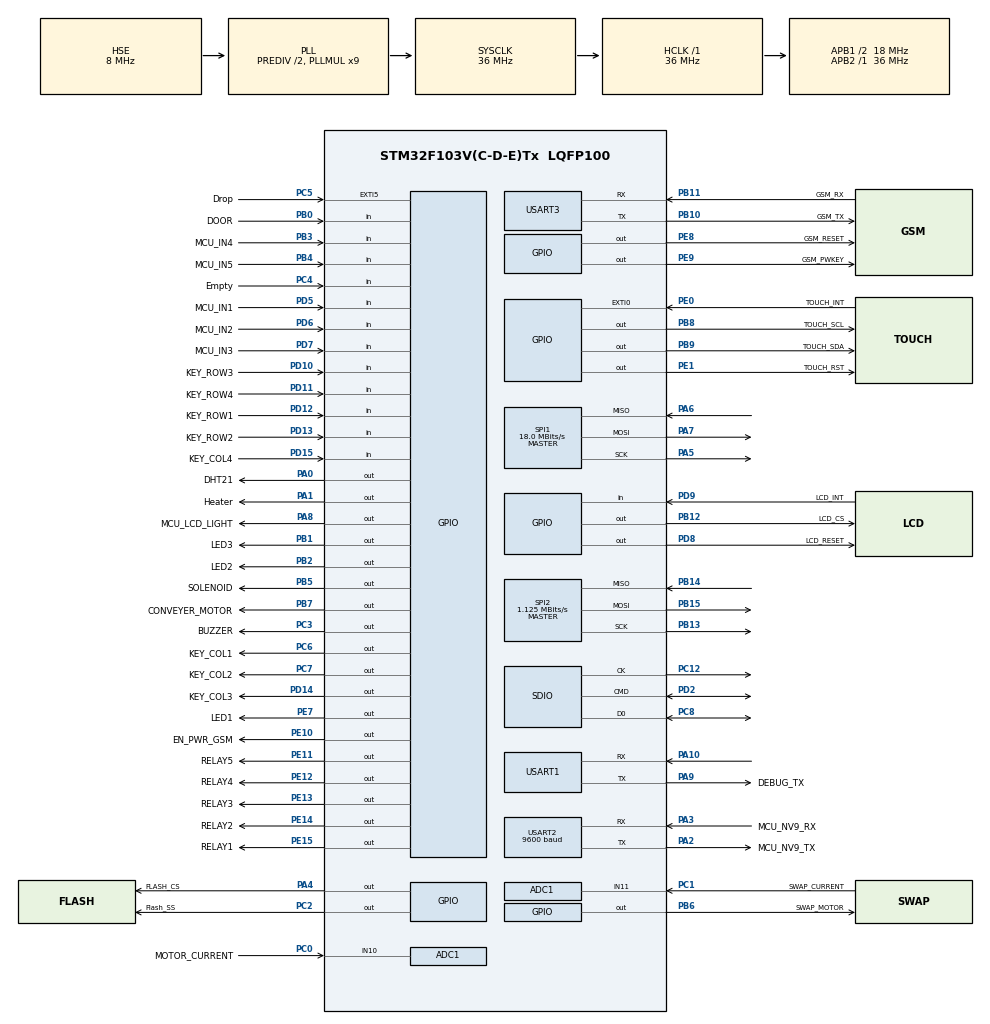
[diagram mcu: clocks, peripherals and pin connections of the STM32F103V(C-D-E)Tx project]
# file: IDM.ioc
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ADC1.Channel-2\#ChannelRegularConversion=ADC_CHANNEL_11
ADC1.Channel-3\#ChannelRegularConversion=ADC_CHANNEL_10
ADC1.ContinuousConvMode=ENABLE
ADC1.DiscontinuousConvMode=DISABLE
ADC1.EnableRegularConversion=ENABLE
ADC1.ExternalTrigConv=ADC_SOFTWARE_START
ADC1.NbrOfConversion=2
ADC1.NbrOfConversionFlag=1
ADC1.Rank-2\#ChannelRegularConversion=1
ADC1.Rank-3\#ChannelRegularConversion=2
ADC1.SamplingTime-2\#ChannelRegularConversion=ADC_SAMPLETIME_55CYCLES_5
ADC1.SamplingTime-3\#ChannelRegularConversion=ADC_SAMPLETIME_55CYCLES_5
ADC1.master=1
Dma.Request0=USART2_RX
Dma.Request1=USART2_TX
Dma.Request2=USART3_RX
Dma.Request3=USART3_TX
Dma.Request4=USART1_RX
Dma.Request5=USART1_TX
Dma.USART1_RX.4.Direction=DMA_PERIPH_TO_MEMORY
Dma.USART1_RX.4.Instance=DMA1_Channel5
Dma.USART1_RX.4.MemDataAlignment=DMA_MDATAALIGN_BYTE
Dma.USART1_RX.4.MemInc=DMA_MINC_ENABLE
Dma.USART1_RX.4.Mode=DMA_CIRCULAR
Dma.USART1_RX.4.PeriphDataAlignment=DMA_PDATAALIGN_BYTE
Dma.USART1_RX.4.PeriphInc=DMA_PINC_DISABLE
Dma.USART1_RX.4.Priority=DMA_PRIORITY_LOW
Dma.USART1_TX.5.Direction=DMA_MEMORY_TO_PERIPH
Dma.USART1_TX.5.Instance=DMA1_Channel4
Dma.USART1_TX.5.MemDataAlignment=DMA_MDATAALIGN_BYTE
Dma.USART1_TX.5.MemInc=DMA_MINC_ENABLE
Dma.USART1_TX.5.Mode=DMA_NORMAL
Dma.USART1_TX.5.PeriphDataAlignment=DMA_PDATAALIGN_BYTE
Dma.USART1_TX.5.PeriphInc=DMA_PINC_DISABLE
Dma.USART1_TX.5.Priority=DMA_PRIORITY_LOW
Dma.USART2_RX.0.Direction=DMA_PERIPH_TO_MEMORY
Dma.USART2_RX.0.Instance=DMA1_Channel6
Dma.USART2_RX.0.MemDataAlignment=DMA_MDATAALIGN_BYTE
Dma.USART2_RX.0.MemInc=DMA_MINC_ENABLE
Dma.USART2_RX.0.Mode=DMA_NORMAL
Dma.USART2_RX.0.PeriphDataAlignment=DMA_PDATAALIGN_BYTE
Dma.USART2_RX.0.PeriphInc=DMA_PINC_DISABLE
Dma.USART2_RX.0.Priority=DMA_PRIORITY_LOW
Dma.USART2_TX.1.Direction=DMA_MEMORY_TO_PERIPH
Dma.USART2_TX.1.Instance=DMA1_Channel7
Dma.USART2_TX.1.MemDataAlignment=DMA_MDATAALIGN_BYTE
Dma.USART2_TX.1.MemInc=DMA_MINC_ENABLE
Dma.USART2_TX.1.Mode=DMA_NORMAL
Dma.USART2_TX.1.PeriphDataAlignment=DMA_PDATAALIGN_BYTE
Dma.USART2_TX.1.PeriphInc=DMA_PINC_DISABLE
Dma.USART2_TX.1.Priority=DMA_PRIORITY_LOW
Dma.USART3_RX.2.Direction=DMA_PERIPH_TO_MEMORY
Dma.USART3_RX.2.Instance=DMA1_Channel3
Dma.USART3_RX.2.MemDataAlignment=DMA_MDATAALIGN_BYTE
Dma.USART3_RX.2.MemInc=DMA_MINC_ENABLE
Dma.USART3_RX.2.Mode=DMA_CIRCULAR
Dma.USART3_RX.2.PeriphDataAlignment=DMA_PDATAALIGN_BYTE
Dma.USART3_RX.2.PeriphInc=DMA_PINC_DISABLE
Dma.USART3_RX.2.Priority=DMA_PRIORITY_LOW
Dma.USART3_TX.3.Direction=DMA_MEMORY_TO_PERIPH
Dma.USART3_TX.3.Instance=DMA1_Channel2
Dma.USART3_TX.3.MemDataAlignment=DMA_MDATAALIGN_BYTE
Dma.USART3_TX.3.MemInc=DMA_MINC_ENABLE
Dma.USART3_TX.3.Mode=DMA_NORMAL
Dma.USART3_TX.3.PeriphDataAlignment=DMA_PDATAALIGN_BYTE
Dma.USART3_TX.3.PeriphInc=DMA_PINC_DISABLE
Dma.USART3_TX.3.Priority=DMA_PRIORITY_LOW
FATFS._USE_FIND=1
Mcu.Family=STM32F1
Mcu.Name=STM32F103V(C-D-E)Tx
Mcu.Package=LQFP100
NVIC.ADC1_2_IRQn=true\:0\:0\:false\:false\:true\:true\:true\:true
NVIC.DMA1_Channel2_IRQn=true\:1\:0\:true\:true\:true\:2\:false\:true\:true
NVIC.DMA1_Channel3_IRQn=true\:2\:0\:true\:true\:true\:3\:false\:true\:true
NVIC.DMA1_Channel4_IRQn=true\:3\:0\:true\:true\:true\:4\:false\:true\:true
NVIC.DMA1_Channel5_IRQn=true\:4\:0\:true\:true\:true\:5\:false\:true\:true
NVIC.DMA1_Channel6_IRQn=true\:6\:0\:true\:true\:true\:6\:false\:true\:true
NVIC.DMA1_Channel7_IRQn=true\:5\:0\:true\:true\:true\:7\:false\:true\:true
NVIC.EXTI0_IRQn=true\:0\:0\:false\:false\:true\:true\:true\:true
NVIC.EXTI9_5_IRQn=true\:0\:0\:false\:true\:true\:8\:true\:true\:true
NVIC.PriorityGroup=NVIC_PRIORITYGROUP_4
NVIC.RTC_IRQn=true\:0\:0\:false\:true\:true\:1\:true\:true\:true
NVIC.SDIO_IRQn=true\:0\:0\:false\:false\:true\:true\:true\:true
NVIC.TIM3_IRQn=true\:11\:0\:true\:false\:true\:true\:true\:true
NVIC.TIM6_IRQn=true\:7\:0\:true\:true\:true\:12\:true\:true\:true
NVIC.USART1_IRQn=true\:8\:0\:true\:true\:true\:9\:true\:true\:true
NVIC.USART2_IRQn=true\:9\:0\:true\:true\:true\:10\:true\:true\:true
NVIC.USART3_IRQn=true\:10\:0\:true\:true\:true\:11\:true\:true\:true
OSC_IN.Mode=HSE-External-Oscillator
OSC_IN.Signal=RCC_OSC_IN
OSC_OUT.Mode=HSE-External-Oscillator
OSC_OUT.Signal=RCC_OSC_OUT
PA0-WKUP.GPIO_Label=DHT21
PA0-WKUP.GPIO_ModeDefaultOutputPP=GPIO_MODE_OUTPUT_OD
PA0-WKUP.GPIO_PuPd=GPIO_PULLUP
PA0-WKUP.GPIO_Speed=GPIO_SPEED_FREQ_HIGH
PA0-WKUP.PinState=GPIO_PIN_SET
PA0-WKUP.Signal=GPIO_Output
PA1.GPIO_Label=Heater
PA1.Signal=GPIO_Output
PA10.Mode=Asynchronous
PA10.Signal=USART1_RX
PA2.GPIO_Label=MCU_NV9_TX
PA2.Mode=Asynchronous
PA2.Signal=USART2_TX
PA3.GPIO_Label=MCU_NV9_RX
PA3.Mode=Asynchronous
PA3.Signal=USART2_RX
PA4.GPIO_Label=FLASH_CS
PA4.GPIO_Speed=GPIO_SPEED_FREQ_HIGH
PA4.PinState=GPIO_PIN_SET
PA4.Signal=GPIO_Output
PA5.Mode=Full_Duplex_Master
PA5.Signal=SPI1_SCK
PA6.Mode=Full_Duplex_Master
PA6.Signal=SPI1_MISO
PA7.Mode=Full_Duplex_Master
PA7.Signal=SPI1_MOSI
PA8.GPIO_Label=MCU_LCD_LIGHT
PA8.Signal=GPIO_Output
PA9.GPIO_Label=DEBUG_TX
PA9.Mode=Asynchronous
PA9.Signal=USART1_TX
PB0.GPIO_Label=DOOR
PB0.Signal=GPIO_Input
PB1.GPIO_Label=LED3
PB1.Signal=GPIO_Output
PB10.GPIO_Label=GSM_TX
PB10.Mode=Asynchronous
PB10.Signal=USART3_TX
PB11.GPIO_Label=GSM_RX
PB11.Mode=Asynchronous
PB11.Signal=USART3_RX
PB12.GPIO_Label=LCD_CS
PB12.GPIO_Speed=GPIO_SPEED_FREQ_HIGH
PB12.PinState=GPIO_PIN_SET
PB12.Signal=GPIO_Output
PB13.Mode=Full_Duplex_Master
PB13.Signal=SPI2_SCK
PB14.Mode=Full_Duplex_Master
PB14.Signal=SPI2_MISO
PB15.Mode=Full_Duplex_Master
PB15.Signal=SPI2_MOSI
PB2.GPIO_Label=LED2
PB2.Signal=GPIO_Output
PB3.GPIO_Label=MCU_IN4
PB3.Signal=GPIO_Input
PB4.GPIO_Label=MCU_IN5
PB4.Signal=GPIO_Input
PB5.GPIO_Label=SOLENOID
PB5.Signal=GPIO_Output
PB6.GPIO_Label=SWAP_MOTOR
PB6.Signal=GPIO_Output
PB7.GPIO_Label=CONVEYER_MOTOR
PB7.Signal=GPIO_Output
PB8.GPIO_Label=TOUCH_SCL
PB8.GPIO_PuPd=GPIO_PULLUP
PB8.GPIO_Speed=GPIO_SPEED_FREQ_HIGH
PB8.Signal=GPIO_Output
PB9.GPIO_Label=TOUCH_SDA
PB9.GPIO_PuPd=GPIO_PULLUP
PB9.GPIO_Speed=GPIO_SPEED_FREQ_HIGH
PB9.Signal=GPIO_Output
PC0.GPIO_Label=MOTOR_CURRENT
PC0.Signal=ADCx_IN10
PC1.GPIO_Label=SWAP_CURRENT
PC1.Signal=ADCx_IN11
PC10.Signal=SDIO_D2
PC11.Signal=SDIO_D3
PC12.Mode=SD_1_bit
PC12.Signal=SDIO_CK
PC14-OSC32_IN.Mode=LSE-External-Oscillator
PC14-OSC32_IN.Signal=RCC_OSC32_IN
PC15-OSC32_OUT.Mode=LSE-External-Oscillator
PC15-OSC32_OUT.Signal=RCC_OSC32_OUT
PC2.GPIO_Label=Flash_SS
PC2.GPIO_Speed=GPIO_SPEED_FREQ_HIGH
PC2.PinState=GPIO_PIN_SET
PC2.Signal=GPIO_Output
PC3.GPIO_Label=BUZZER
PC3.Signal=GPIO_Output
PC4.GPIO_Label=Empty
PC4.Signal=GPIO_Input
PC5.GPIO_Label=Drop
PC5.GPIO_ModeDefaultEXTI=GPIO_MODE_IT_RISING
PC5.GPIO_PuPd=GPIO_PULLUP
PC5.Signal=GPXTI5
PC6.GPIO_Label=KEY_COL1
PC6.Signal=GPIO_Output
PC7.GPIO_Label=KEY_COL2
PC7.GPIO_PuPd=GPIO_NOPULL
PC7.Signal=GPIO_Output
PC8.Mode=SD_1_bit
PC8.Signal=SDIO_D0
PC9.Signal=SDIO_D1
PD10.GPIO_Label=KEY_ROW3
PD10.GPIO_PuPd=GPIO_PULLDOWN
PD10.Signal=GPIO_Input
PD11.GPIO_Label=KEY_ROW4
PD11.GPIO_PuPd=GPIO_PULLDOWN
PD11.Signal=GPIO_Input
PD12.GPIO_Label=KEY_ROW1
PD12.GPIO_PuPd=GPIO_PULLDOWN
PD12.Signal=GPIO_Input
PD13.GPIO_Label=KEY_ROW2
PD13.GPIO_PuPd=GPIO_PULLDOWN
PD13.Signal=GPIO_Input
PD14.GPIO_Label=KEY_COL3
PD14.Signal=GPIO_Output
PD15.GPIO_Label=KEY_COL4
PD15.GPIO_PuPd=GPIO_PULLDOWN
PD15.Signal=GPIO_Input
PD2.Mode=SD_1_bit
PD2.Signal=SDIO_CMD
PD5.GPIO_Label=MCU_IN1
PD5.Signal=GPIO_Input
PD6.GPIO_Label=MCU_IN2
PD6.Signal=GPIO_Input
PD7.GPIO_Label=MCU_IN3
PD7.Signal=GPIO_Input
PD8.GPIO_Label=LCD_RESET
PD8.GPIO_Speed=GPIO_SPEED_FREQ_HIGH
PD8.PinState=GPIO_PIN_RESET
PD8.Signal=GPIO_Output
PD9.GPIO_Label=LCD_INT
PD9.Signal=GPIO_Input
PE0.GPIO_Label=TOUCH_INT
PE0.GPIO_PuPd=GPIO_PULLDOWN
PE0.Signal=GPXTI0
PE1.GPIO_Label=TOUCH_RST
PE1.GPIO_PuPd=GPIO_PULLUP
PE1.GPIO_Speed=GPIO_SPEED_FREQ_HIGH
PE1.PinState=GPIO_PIN_SET
PE1.Signal=GPIO_Output
PE10.GPIO_Label=EN_PWR_GSM
PE10.Signal=GPIO_Output
PE11.GPIO_Label=RELAY5
PE11.Signal=GPIO_Output
PE12.GPIO_Label=RELAY4
PE12.Signal=GPIO_Output
PE13.GPIO_Label=RELAY3
PE13.Signal=GPIO_Output
PE14.GPIO_Label=RELAY2
PE14.Signal=GPIO_Output
PE15.GPIO_Label=RELAY1
PE15.Signal=GPIO_Output
PE7.GPIO_Label=LED1
PE7.Signal=GPIO_Output
PE8.GPIO_Label=GSM_RESET
PE8.Signal=GPIO_Output
PE9.GPIO_Label=GSM_PWKEY
PE9.Signal=GPIO_Output
ProjectManager.HeapSize=0x200
ProjectManager.StackSize=0x400
ProjectManager.TargetToolchain=MDK-ARM V5.32
RCC.ADCPresc=RCC_ADCPCLK2_DIV8
RCC.AHBFreq_Value=36000000
RCC.APB1CLKDivider=RCC_HCLK_DIV2
RCC.APB1Freq_Value=18000000
RCC.APB1TimFreq_Value=36000000
RCC.APB2Freq_Value=36000000
RCC.APB2TimFreq_Value=36000000
RCC.HCLKFreq_Value=36000000
RCC.HSEDivPLL=RCC_HSE_PREDIV_DIV2
RCC.PLLMUL=RCC_PLL_MUL9
RCC.PLLSourceVirtual=RCC_PLLSOURCE_HSE
RCC.SYSCLKFreq_VALUE=36000000
RCC.SYSCLKSource=RCC_SYSCLKSOURCE_PLLCLK
RCC.TimSys_Div=SYSTICK_CLKSOURCE_HCLK_DIV8
RCC.USBFreq_Value=36000000
RTC.Date=2
RTC.Format=RTC_FORMAT_BCD
RTC.Hours=6
RTC.Minutes=59
RTC.Month=RTC_MONTH_JUNE
RTC.Seconds=40
RTC.WeekDay=RTC_WEEKDAY_SUNDAY
RTC.Year=24
SDIO.ClockDiv=1
SH.ADCx_IN10.0=ADC1_IN10,IN10
SH.ADCx_IN11.0=ADC1_IN11,IN11
SPI1.BaudRatePrescaler=SPI_BAUDRATEPRESCALER_2
SPI1.CalculateBaudRate=18.0 MBits/s
SPI1.Direction=SPI_DIRECTION_2LINES
SPI1.Mode=SPI_MODE_MASTER
SPI1.VirtualType=VM_MASTER
SPI2.BaudRatePrescaler=SPI_BAUDRATEPRESCALER_16
SPI2.CalculateBaudRate=1.125 MBits/s
SPI2.Direction=SPI_DIRECTION_2LINES
SPI2.Mode=SPI_MODE_MASTER
SPI2.VirtualType=VM_MASTER
TIM3.AutoReloadPreload=TIM_AUTORELOAD_PRELOAD_ENABLE
TIM3.Period=16000
TIM3.Prescaler=0
TIM6.AutoReloadPreload=TIM_AUTORELOAD_PRELOAD_ENABLE
TIM6.Period=999
TIM6.Prescaler=35
USART1.VirtualMode=VM_ASYNC
USART2.BaudRate=9600
USART2.StopBits=STOPBITS_2
USART2.VirtualMode=VM_ASYNC
USART3.VirtualMode=VM_ASYNC
VP_FATFS_VS_SDIO.Mode=SDIO
VP_RTC_VS_RTC_Activate.Mode=RTC_Enabled
VP_RTC_VS_RTC_Calendar.Mode=RTC_Calendar
VP_SYS_VS_ND.Mode=No_Debug
VP_TIM3_VS_ClockSourceINT.Mode=Internal
VP_TIM6_VS_ClockSourceINT.Mode=Enable_Timer
board=custom

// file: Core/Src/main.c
/* USER CODE BEGIN Header */
/**
  ******************************************************************************
  * @file           : main.c
  * @brief          : Main program body
  ******************************************************************************
  * @attention
  *
  * Copyright (c) 2024 STMicroelectronics.
  * All rights reserved.
  *
  * This software is licensed under terms that can be found in the LICENSE file
  * in the root directory of this software component.
  * If no LICENSE file comes with this software, it is provided AS-IS.
  *
  ******************************************************************************
  */
/* USER CODE END Header */
#include "main.h"
#include "fatfs.h"

/* USER CODE BEGIN Includes */
#include <stdio.h>
#include <stdlib.h>
#include <string.h>
#include <app_debug.h>
#include <time.h>

#include "nv11.h"
#include "ssp_defines.h"
#include "serialfunc.h"
#include "SSPComs.h"
#include "ssp_helpers.h"
#include "ITLSSPProc.h"
#include "GLCD.h"
#include "TFT_glcd.h"
//#include "RA8875.h"
//#include "RA_LCD.h"
#include "RTC_time.h"
#include "GSM_drv.h"
#include "GSM_app.h"
#include "USER_GUIDE.h"
#include "dht_sensor.h"
#include "IDM.h"
#include "flash.h"
#include "vdm_app_gsm.h"
#include "vdm_fw.h"
#include "vdm_device_config.h"
#include "TOUCH.h"
#include "w25qxx.h"
#include "keyboard.h"
#include "graphic.h"

//#include "FATFS/src/ff.h"
//#include "SPI_MSD_Driver.h"
//#include "diskio.h"
/* USER CODE END Includes */

/* USER CODE BEGIN PTD */

extern uint8_t rx1_buffer[256];
extern uint16_t AT_timeout;
uint8_t isSecond =0, isSecond_display=0;
DHT_HandleTypeDef DHT_21;
extern uint32_t count;
extern bool flag_readDHT12;
extern LED Led1, Led2, Led3;
extern 	float Humidity, Temperature;
extern vdm_device_config_t m_device_config;
uint32_t sram_ID=0;
uint32_t time_buzz=0;
extern uint16_t count_timeout;
extern uint16_t dht_error;
uint8_t isLCD_COLOR;
extern unsigned char key_tick, key_map[];

int ADC_MOTOR=0, ADC_MOTOR_SWAP=0, ADC_M_OLD, ADC_SWAP_OLD, ADC_M_AVG, ADC_SWAP_AVG;
int I_MOTOR=0, I_SWAP_M=0;

/* USER CODE END PTD */

/* USER CODE BEGIN PD */
FATFS SD_FatFs;  /* File system object for SD card logical drive */
char SD_Path[4]; /* SD card logical drive path */
/* USER CODE END PD */

ADC_HandleTypeDef hadc1;

RTC_HandleTypeDef hrtc;

SD_HandleTypeDef hsd;

SPI_HandleTypeDef hspi1;
SPI_HandleTypeDef hspi2;

TIM_HandleTypeDef htim3;
TIM_HandleTypeDef htim6;

UART_HandleTypeDef huart1;
UART_HandleTypeDef huart2;
UART_HandleTypeDef huart3;
DMA_HandleTypeDef hdma_usart1_rx;
DMA_HandleTypeDef hdma_usart1_tx;
DMA_HandleTypeDef hdma_usart2_rx;
DMA_HandleTypeDef hdma_usart2_tx;
DMA_HandleTypeDef hdma_usart3_rx;
DMA_HandleTypeDef hdma_usart3_tx;

/* USER CODE BEGIN PV */
extern	rtc_date_time_t currentTime;
GSM_State GSM;
extern IDM_PARA IDM;
extern IDM_HARDWARE IDM_Status;
uint32_t timeInterval=0;
extern struct _ts_event ts_event;
/* USER CODE END PV */

void SystemClock_Config(void);
static void MX_GPIO_Init(void);
static void MX_DMA_Init(void);
static void MX_RTC_Init(void);
static void MX_USART1_UART_Init(void);
static void MX_ADC1_Init(void);
static void MX_USART2_UART_Init(void);
static void MX_USART3_UART_Init(void);
static void MX_TIM6_Init(void);
static void MX_SPI2_Init(void);
static void MX_SDIO_SD_Init(void);
static void MX_TIM3_Init(void);
static void MX_SPI1_Init(void);
static void MX_NVIC_Init(void);

/* USER CODE BEGIN 0 */
struct __FILE { int handle; };
FILE __stdout;
FILE __stdin;

#ifdef __GNUC__
#define PUTCHAR_PROTOTYPE int __io_putchar(int ch)
#else
#define PUTCHAR_PROTOTYPE int fputc(int ch, FILE *f)
#endif /* __GNUC__ */

/**
  * @brief  Retargets the C library DEBUG_INFO function to the USART.
  * @param  None
  * @retval None
  */
PUTCHAR_PROTOTYPE
{
  HAL_UART_Transmit(&huart1, (uint8_t *)&ch, 1, HAL_MAX_DELAY);
  return ch;
}
int stt_DHT=0;
int NV11_res, nv11_timeout_count=0;
/* USER CODE END 0 */

int main(void)
{
  /* USER CODE BEGIN 1 */
	bool isStart =false, doorOpenStatus = false;	// true is close
  /* USER CODE END 1 */

  /* MCU Configuration--------------------------------------------------------*/

  /* Reset of all peripherals, Initializes the Flash interface and the Systick. */
  HAL_Init();

  /* Configure the system clock */
  SystemClock_Config();

  /* Initialize all configured peripherals */
  MX_GPIO_Init();
  MX_DMA_Init();
  MX_RTC_Init();
  MX_USART1_UART_Init();
  MX_ADC1_Init();
  MX_USART2_UART_Init();
  MX_USART3_UART_Init();
  MX_TIM6_Init();
  MX_SPI2_Init();
  MX_SDIO_SD_Init();
  MX_FATFS_Init();
  MX_TIM3_Init();
  MX_SPI1_Init();

  /* Initialize interrupts */
  MX_NVIC_Init();
  /* USER CODE BEGIN 2 */
	    DEBUG_INFO("Vending machine V2.0\r\nBuild %s %s\r\nFirmware version %s, hardware version %s\r\n",
               __DATE__, __TIME__,
               VDM_FIRMWARE_VERSION, VDM_HARDWARE_VERSION);
	HAL_Delay(1000);
	IDM_init();
//	HAL_Delay(1000);
	//init DHT21
	DHT_Sensor_Init(&DHT_21);
	DHT_21.values.humidity =0;
	HAL_GPIO_WritePin(MCU_LCD_LIGHT_GPIO_Port, MCU_LCD_LIGHT_Pin, GPIO_PIN_SET);
	//END init DHT21
	HAL_TIM_Base_Start_IT(&htim6);
	HAL_TIM_Base_Start_IT(&htim3);
	HAL_ADC_Start_IT(&hadc1);
	Buzz_On(500);
//	HAL_GPIO_WritePin(CONVEYER_MOTOR_GPIO_Port, CONVEYER_MOTOR_Pin, GPIO_PIN_RESET);
	HAL_UARTEx_ReceiveToIdle_DMA(&huart1, rx1_buffer, 256);
	//LCD

	LCD_init();
//#endif
	if(isLCD_COLOR)
	{
		Displaypicture(Back_ground);

//		Active_Window(10,750, 0, 479);
//		test_TFT_DrawString(0,20,color_yellow);
		IOT47_GFX_connectToDriver(&RA8875_drawpixel);
		Displaypicture(Back_ground);		//write again
//		test_custom();
//		Displaypicture(1);
//		while(1)
		{
//			Displaypicture(3);
//			HAL_Delay(100);
//			Displaypicture(4);
//			HAL_Delay(100);
//			Displaypicture(Back_ground);
//			HAL_Delay(1000);
//			for(int n=0; n<5; n++)
//			{
//				COLOR_mono(32+(n*128),32,32,32);
//				HAL_Delay(500);
//			}
		}
	}
	else
	{
		GLcd_DrawString("Starting...", 0, 0, WHITE); /* Hien thi len man hinh GLCD trang thai khoi tao GSM/GPRS */
		GLcd_Flush();
	}
//load config
	W25qxx_Init();
//	uint8_t data[300];
//	W25qxx_EraseSector(0x00);
//	for(int n=0; n<300; n++)
//	{
//		//data[n] =n;
//		W25qxx_WriteByte(300-n,n);
//	}
//	W25qxx_ReadBytes(&data[0],0, 300);
//	printf("Read SPI_Flash: ");
//	for(int n=0; n<300; n++)
//	{
//		//data[n] =n;
//		printf("%X ", data[n]);
//	}

	flash_init();
//	printf("Sram_STT: %d\r\n", Read_SRAM_STT());
	printf("ID_SRAM: %X\r\n", Read_SRAM_ID());
	read_device_config();
	vdm_app_gsm_set_device_id(m_device_config.peripheral.machine_id);
//	test_nv11();
	if(isLCD_COLOR)
	{
		//touch int
		TOUCH_Init();
	}
	else
	{
		GLcd_DrawString("Init NV9...", 0, 10, WHITE); /* Hien thi len man hinh GLCD trang thai khoi tao GSM/GPRS */
		GLcd_Flush();
	}
	ssp_serial_initialize();
  ITLSSP_Init();
	int8_t i8_nv11_init = vdm_NV11_Init();

	if(i8_nv11_init == INIT_OK)
	{
		if(isLCD_COLOR)
		{

		}
		else
		{
			GLcd_DrawString("Init NV9...OK", 0, 10, WHITE); /* Hien thi len man hinh GLCD trang thai khoi tao GSM/GPRS */
			GLcd_Flush();
		}
		printf("NV11 Init Successful!\r\n");
	}
	else
	{
		if(isLCD_COLOR)
		{

		}
		else
		{
			GLcd_DrawString("Init NV9...NOK", 0, 10, WHITE); /* Hien thi len man hinh GLCD trang thai khoi tao GSM/GPRS */
			GLcd_Flush();
		}
		printf("NV11 Init Fail: %d\r\n",i8_nv11_init);
	}

	NV11_Disable(true);
	GSM_init();
	printf("Infinite loop\r\n");
  /* USER CODE END 2 */

  /* Infinite loop */
  /* USER CODE BEGIN WHILE */
		HAL_GPIO_WritePin(SWAP_MOTOR_GPIO_Port, SWAP_MOTOR_Pin, GPIO_PIN_RESET);
		GLcd_ClearScreen(BLACK);
//	vdm_device_config_load();
//
//	for(int n=0; n<10; n++)
//	{
//		Write_Byte_Sram(n, n);
//	}
	//, GSM_connect_timeout=0;
	uint8_t Touched=0;//,n, m, oldTouch=0;
//	char s[30];
//isTouch = GSLX680_read_data();
  while (1)
  {
    /* USER CODE END WHILE */

    /* USER CODE BEGIN 3 */
//		printf("enter_nv11\r\n");
		NV11_res = vdm_NV11_Process(1000);
		if(NV11_res == ERR_POLL_TIMEOUT )
		{
			nv11_timeout_count++;
			if(nv11_timeout_count>20)
			{
				nv11_timeout_count=0;
				vdm_NV11_Init();
			}
		}
		else
			if(NV11_res !=POLL_IDLE)
				nv11_timeout_count =0;
//		printf("enter_gsm\r\n");
		checkGPSCommand();
//		printf("enter_idm\r\n");
		Scan_IDM();
//		printf("enter_glcd\r\n");
		Menu_draw();
//		if(ts_event.touch_event == TOUCH_UP)
//		{
//			Buzz_On(100);
//			ts_event.touch_event = NO_TOUCH;
//		}
		if(Touched==0)
			Touched = GSLX680_read_data();
		if(isSecond)
		{
//			printf("enter_second\r\n");
//			if(currentTime.second%2)
//				HAL_GPIO_WritePin(TOUCH_RST_GPIO_Port, TOUCH_RST_Pin, GPIO_PIN_SET);
//			else
//				HAL_GPIO_WritePin(TOUCH_RST_GPIO_Port, TOUCH_RST_Pin, GPIO_PIN_RESET);
			isSecond=0;
			if(isStart == false	&& GSM.Connect4G==1 )
			{
				isStart = true;
				vdm_app_gsm_send_start_frame();
			}
			if(doorOpenStatus != IDM_Status.isDoorOpen)
			{
				doorOpenStatus = IDM_Status.isDoorOpen;
				vdm_app_gsm_send_door_frame(!IDM_Status.isDoorOpen);
			}
			if(timeInterval>120)	// 2phut
			{
				timeInterval =0;
				vdm_app_gsm_send_heartbeat();
			}
			count_timeout ++;
//			if(GSM.CSQ>10)
				TCP_connect();
//			GSM_connect_timeout ++;
//			if(GSM_connect_timeout>60)
//			{
//				GSM_init();
//			}
			currentTime = getRTC();
//			uint32_t size_of_frame = sizeof(m_door_close_frame);
//			printf("size fram: %d\r\n", size_of_frame);
			if(currentTime.second%10==0)
			{
				stt_DHT = DHT_Sensor_Read(&DHT_21);
				flag_readDHT12=false;
				if(stt_DHT!=READ_OK)
				{
					dht_error ++;
					DHT_21.values.humidity =0;
					DHT_21.values.temperature =0;
				}
				Humidity = (uint8_t)DHT_21.values.humidity;
				Temperature = (uint8_t)DHT_21.values.temperature;
			}
		}

  }

  /* USER CODE END 3 */
}

void SystemClock_Config(void)
{
  RCC_OscInitTypeDef RCC_OscInitStruct = {0};
  RCC_ClkInitTypeDef RCC_ClkInitStruct = {0};
  RCC_PeriphCLKInitTypeDef PeriphClkInit = {0};

  /** Initializes the RCC Oscillators according to the specified parameters
  * in the RCC_OscInitTypeDef structure.
  */
  RCC_OscInitStruct.OscillatorType = RCC_OSCILLATORTYPE_LSI|RCC_OSCILLATORTYPE_HSE;
  RCC_OscInitStruct.HSEState = RCC_HSE_ON;
  RCC_OscInitStruct.HSEPredivValue = RCC_HSE_PREDIV_DIV2;
  RCC_OscInitStruct.HSIState = RCC_HSI_ON;
  RCC_OscInitStruct.LSIState = RCC_LSI_ON;
  RCC_OscInitStruct.PLL.PLLState = RCC_PLL_ON;
  RCC_OscInitStruct.PLL.PLLSource = RCC_PLLSOURCE_HSE;
  RCC_OscInitStruct.PLL.PLLMUL = RCC_PLL_MUL9;
  if (HAL_RCC_OscConfig(&RCC_OscInitStruct) != HAL_OK)
  {
    Error_Handler();
  }

  /** Initializes the CPU, AHB and APB buses clocks
  */
  RCC_ClkInitStruct.ClockType = RCC_CLOCKTYPE_HCLK|RCC_CLOCKTYPE_SYSCLK
                              |RCC_CLOCKTYPE_PCLK1|RCC_CLOCKTYPE_PCLK2;
  RCC_ClkInitStruct.SYSCLKSource = RCC_SYSCLKSOURCE_PLLCLK;
  RCC_ClkInitStruct.AHBCLKDivider = RCC_SYSCLK_DIV1;
  RCC_ClkInitStruct.APB1CLKDivider = RCC_HCLK_DIV2;
  RCC_ClkInitStruct.APB2CLKDivider = RCC_HCLK_DIV1;

  if (HAL_RCC_ClockConfig(&RCC_ClkInitStruct, FLASH_LATENCY_1) != HAL_OK)
  {
    Error_Handler();
  }
  PeriphClkInit.PeriphClockSelection = RCC_PERIPHCLK_RTC|RCC_PERIPHCLK_ADC;
  PeriphClkInit.RTCClockSelection = RCC_RTCCLKSOURCE_LSI;
  PeriphClkInit.AdcClockSelection = RCC_ADCPCLK2_DIV8;
  if (HAL_RCCEx_PeriphCLKConfig(&PeriphClkInit) != HAL_OK)
  {
    Error_Handler();
  }
}

/**
  * @brief NVIC Configuration.
  * @retval None
  */
static void MX_NVIC_Init(void)
{
  /* RTC_IRQn interrupt configuration */
  HAL_NVIC_SetPriority(RTC_IRQn, 0, 0);
  HAL_NVIC_EnableIRQ(RTC_IRQn);
  /* DMA1_Channel2_IRQn interrupt configuration */
  HAL_NVIC_SetPriority(DMA1_Channel2_IRQn, 1, 0);
  HAL_NVIC_EnableIRQ(DMA1_Channel2_IRQn);
  /* DMA1_Channel3_IRQn interrupt configuration */
  HAL_NVIC_SetPriority(DMA1_Channel3_IRQn, 2, 0);
  HAL_NVIC_EnableIRQ(DMA1_Channel3_IRQn);
  /* DMA1_Channel4_IRQn interrupt configuration */
  HAL_NVIC_SetPriority(DMA1_Channel4_IRQn, 3, 0);
  HAL_NVIC_EnableIRQ(DMA1_Channel4_IRQn);
  /* DMA1_Channel5_IRQn interrupt configuration */
  HAL_NVIC_SetPriority(DMA1_Channel5_IRQn, 4, 0);
  HAL_NVIC_EnableIRQ(DMA1_Channel5_IRQn);
  /* DMA1_Channel6_IRQn interrupt configuration */
  HAL_NVIC_SetPriority(DMA1_Channel6_IRQn, 6, 0);
  HAL_NVIC_EnableIRQ(DMA1_Channel6_IRQn);
  /* DMA1_Channel7_IRQn interrupt configuration */
  HAL_NVIC_SetPriority(DMA1_Channel7_IRQn, 5, 0);
  HAL_NVIC_EnableIRQ(DMA1_Channel7_IRQn);
  /* EXTI9_5_IRQn interrupt configuration */
  HAL_NVIC_SetPriority(EXTI9_5_IRQn, 0, 0);
  HAL_NVIC_EnableIRQ(EXTI9_5_IRQn);
  /* USART1_IRQn interrupt configuration */
  HAL_NVIC_SetPriority(USART1_IRQn, 8, 0);
  HAL_NVIC_EnableIRQ(USART1_IRQn);
  /* USART2_IRQn interrupt configuration */
  HAL_NVIC_SetPriority(USART2_IRQn, 9, 0);
  HAL_NVIC_EnableIRQ(USART2_IRQn);
  /* USART3_IRQn interrupt configuration */
  HAL_NVIC_SetPriority(USART3_IRQn, 10, 0);
  HAL_NVIC_EnableIRQ(USART3_IRQn);
  /* TIM6_IRQn interrupt configuration */
  HAL_NVIC_SetPriority(TIM6_IRQn, 7, 0);
  HAL_NVIC_EnableIRQ(TIM6_IRQn);
}

static void MX_ADC1_Init(void)
{

  ADC_ChannelConfTypeDef sConfig = {0};

  /** Common config
  */
  hadc1.Instance = ADC1;
  hadc1.Init.ScanConvMode = ADC_SCAN_ENABLE;
  hadc1.Init.ContinuousConvMode = ENABLE;
  hadc1.Init.DiscontinuousConvMode = DISABLE;
  hadc1.Init.ExternalTrigConv = ADC_SOFTWARE_START;
  hadc1.Init.DataAlign = ADC_DATAALIGN_RIGHT;
  hadc1.Init.NbrOfConversion = 2;
  if (HAL_ADC_Init(&hadc1) != HAL_OK)
  {
    Error_Handler();
  }

  /** Configure Regular Channel
  */
  sConfig.Channel = ADC_CHANNEL_11;
  sConfig.Rank = ADC_REGULAR_RANK_1;
  sConfig.SamplingTime = ADC_SAMPLETIME_1CYCLE_5;
  if (HAL_ADC_ConfigChannel(&hadc1, &sConfig) != HAL_OK)
  {
    Error_Handler();
  }

  /** Configure Regular Channel
  */
  sConfig.Channel = ADC_CHANNEL_10;
  sConfig.Rank = ADC_REGULAR_RANK_2;
  if (HAL_ADC_ConfigChannel(&hadc1, &sConfig) != HAL_OK)
  {
    Error_Handler();
  }

}

static void MX_RTC_Init(void)
{

  RTC_TimeTypeDef sTime = {0};
  RTC_DateTypeDef DateToUpdate = {0};

  /** Initialize RTC Only
  */
  hrtc.Instance = RTC;
  hrtc.Init.AsynchPrediv = RTC_AUTO_1_SECOND;
  hrtc.Init.OutPut = RTC_OUTPUTSOURCE_ALARM;
  if (HAL_RTC_Init(&hrtc) != HAL_OK)
  {
    Error_Handler();
  }

  /* USER CODE BEGIN Check_RTC_BKUP */
	HAL_RTCEx_SetSecond_IT(&hrtc);
	if(HAL_RTCEx_BKUPRead(&hrtc, RTC_BKP_DR1)==0x3F20)
	{
		return;
	}
  /* USER CODE END Check_RTC_BKUP */

  /** Initialize RTC and set the Time and Date
  */
  sTime.Hours = 0x6;
  sTime.Minutes = 0x59;
  sTime.Seconds = 0x40;

  if (HAL_RTC_SetTime(&hrtc, &sTime, RTC_FORMAT_BCD) != HAL_OK)
  {
    Error_Handler();
  }
  DateToUpdate.WeekDay = RTC_WEEKDAY_SUNDAY;
  DateToUpdate.Month = RTC_MONTH_JUNE;
  DateToUpdate.Date = 0x2;
  DateToUpdate.Year = 0x24;

  if (HAL_RTC_SetDate(&hrtc, &DateToUpdate, RTC_FORMAT_BCD) != HAL_OK)
  {
    Error_Handler();
  }
  /* USER CODE BEGIN RTC_Init 2 */
	currentTime.year = 2024;
	currentTime.month = 6;
	currentTime.day = 29;
	currentTime.hour=2;
	currentTime.minute=01;
	currentTime.second=00;
	setRTC(currentTime);
	HAL_RTCEx_BKUPWrite(&hrtc, RTC_BKP_DR1, 0x3F20);
  /* USER CODE END RTC_Init 2 */

}

static void MX_SDIO_SD_Init(void)
{

  hsd.Instance = SDIO;
  hsd.Init.ClockEdge = SDIO_CLOCK_EDGE_RISING;
  hsd.Init.ClockBypass = SDIO_CLOCK_BYPASS_DISABLE;
  hsd.Init.ClockPowerSave = SDIO_CLOCK_POWER_SAVE_DISABLE;
  hsd.Init.BusWide = SDIO_BUS_WIDE_1B;
  hsd.Init.HardwareFlowControl = SDIO_HARDWARE_FLOW_CONTROL_DISABLE;
  hsd.Init.ClockDiv = 1;
  /* USER CODE BEGIN SDIO_Init 2 */
//	HAL_SD_MspInit(&hsd);
  /* USER CODE END SDIO_Init 2 */

}

static void MX_SPI1_Init(void)
{

  /* SPI1 parameter configuration*/
  hspi1.Instance = SPI1;
  hspi1.Init.Mode = SPI_MODE_MASTER;
  hspi1.Init.Direction = SPI_DIRECTION_2LINES;
  hspi1.Init.DataSize = SPI_DATASIZE_8BIT;
  hspi1.Init.CLKPolarity = SPI_POLARITY_LOW;
  hspi1.Init.CLKPhase = SPI_PHASE_1EDGE;
  hspi1.Init.NSS = SPI_NSS_SOFT;
  hspi1.Init.BaudRatePrescaler = SPI_BAUDRATEPRESCALER_2;
  hspi1.Init.FirstBit = SPI_FIRSTBIT_MSB;
  hspi1.Init.TIMode = SPI_TIMODE_DISABLE;
  hspi1.Init.CRCCalculation = SPI_CRCCALCULATION_DISABLE;
  hspi1.Init.CRCPolynomial = 10;
  if (HAL_SPI_Init(&hspi1) != HAL_OK)
  {
    Error_Handler();
  }

}

static void MX_SPI2_Init(void)
{

  /* USER CODE BEGIN SPI2_Init 0 */
if(isLCD_COLOR)
{
  hspi2.Instance = SPI2;
  hspi2.Init.Mode = SPI_MODE_MASTER;
  hspi2.Init.Direction = SPI_DIRECTION_2LINES;
  hspi2.Init.DataSize = SPI_DATASIZE_8BIT;
  hspi2.Init.CLKPolarity = SPI_POLARITY_LOW;
  hspi2.Init.CLKPhase = SPI_PHASE_1EDGE;
  hspi2.Init.NSS = SPI_NSS_SOFT;
  hspi2.Init.BaudRatePrescaler = SPI_BAUDRATEPRESCALER_2;
  hspi2.Init.FirstBit = SPI_FIRSTBIT_MSB;
  hspi2.Init.TIMode = SPI_TIMODE_DISABLE;
  hspi2.Init.CRCCalculation = SPI_CRCCALCULATION_DISABLE;
  hspi2.Init.CRCPolynomial = 10;
  if (HAL_SPI_Init(&hspi2) != HAL_OK)
  {
    Error_Handler();
  }
}
else{
  /* USER CODE END SPI2_Init 0 */

  /* SPI2 parameter configuration*/
  hspi2.Instance = SPI2;
  hspi2.Init.Mode = SPI_MODE_MASTER;
  hspi2.Init.Direction = SPI_DIRECTION_2LINES;
  hspi2.Init.DataSize = SPI_DATASIZE_8BIT;
  hspi2.Init.CLKPolarity = SPI_POLARITY_LOW;
  hspi2.Init.CLKPhase = SPI_PHASE_1EDGE;
  hspi2.Init.NSS = SPI_NSS_SOFT;
  hspi2.Init.BaudRatePrescaler = SPI_BAUDRATEPRESCALER_16;
  hspi2.Init.FirstBit = SPI_FIRSTBIT_MSB;
  hspi2.Init.TIMode = SPI_TIMODE_DISABLE;
  hspi2.Init.CRCCalculation = SPI_CRCCALCULATION_DISABLE;
  hspi2.Init.CRCPolynomial = 10;
  if (HAL_SPI_Init(&hspi2) != HAL_OK)
  {
    Error_Handler();
  }
}

}

static void MX_TIM3_Init(void)
{

  TIM_ClockConfigTypeDef sClockSourceConfig = {0};
  TIM_MasterConfigTypeDef sMasterConfig = {0};

  htim3.Instance = TIM3;
  htim3.Init.Prescaler = 0;
  htim3.Init.CounterMode = TIM_COUNTERMODE_UP;
  htim3.Init.Period = 16000;
  htim3.Init.ClockDivision = TIM_CLOCKDIVISION_DIV1;
  htim3.Init.AutoReloadPreload = TIM_AUTORELOAD_PRELOAD_ENABLE;
  if (HAL_TIM_Base_Init(&htim3) != HAL_OK)
  {
    Error_Handler();
  }
  sClockSourceConfig.ClockSource = TIM_CLOCKSOURCE_INTERNAL;
  if (HAL_TIM_ConfigClockSource(&htim3, &sClockSourceConfig) != HAL_OK)
  {
    Error_Handler();
  }
  sMasterConfig.MasterOutputTrigger = TIM_TRGO_RESET;
  sMasterConfig.MasterSlaveMode = TIM_MASTERSLAVEMODE_DISABLE;
  if (HAL_TIMEx_MasterConfigSynchronization(&htim3, &sMasterConfig) != HAL_OK)
  {
    Error_Handler();
  }

}

static void MX_TIM6_Init(void)
{

  TIM_MasterConfigTypeDef sMasterConfig = {0};

  htim6.Instance = TIM6;
  htim6.Init.Prescaler = 35;
  htim6.Init.CounterMode = TIM_COUNTERMODE_UP;
  htim6.Init.Period = 999;
  htim6.Init.AutoReloadPreload = TIM_AUTORELOAD_PRELOAD_ENABLE;
  if (HAL_TIM_Base_Init(&htim6) != HAL_OK)
  {
    Error_Handler();
  }
  sMasterConfig.MasterOutputTrigger = TIM_TRGO_RESET;
  sMasterConfig.MasterSlaveMode = TIM_MASTERSLAVEMODE_DISABLE;
  if (HAL_TIMEx_MasterConfigSynchronization(&htim6, &sMasterConfig) != HAL_OK)
  {
    Error_Handler();
  }

}

static void MX_USART1_UART_Init(void)
{

  huart1.Instance = USART1;
  huart1.Init.BaudRate = 115200;
  huart1.Init.WordLength = UART_WORDLENGTH_8B;
  huart1.Init.StopBits = UART_STOPBITS_1;
  huart1.Init.Parity = UART_PARITY_NONE;
  huart1.Init.Mode = UART_MODE_TX_RX;
  huart1.Init.HwFlowCtl = UART_HWCONTROL_NONE;
  huart1.Init.OverSampling = UART_OVERSAMPLING_16;
  if (HAL_UART_Init(&huart1) != HAL_OK)
  {
    Error_Handler();
  }

}

static void MX_USART2_UART_Init(void)
{

  huart2.Instance = USART2;
  huart2.Init.BaudRate = 9600;
  huart2.Init.WordLength = UART_WORDLENGTH_8B;
  huart2.Init.StopBits = UART_STOPBITS_2;
  huart2.Init.Parity = UART_PARITY_NONE;
  huart2.Init.Mode = UART_MODE_TX_RX;
  huart2.Init.HwFlowCtl = UART_HWCONTROL_NONE;
  huart2.Init.OverSampling = UART_OVERSAMPLING_16;
  if (HAL_UART_Init(&huart2) != HAL_OK)
  {
    Error_Handler();
  }

}

static void MX_USART3_UART_Init(void)
{

  huart3.Instance = USART3;
  huart3.Init.BaudRate = 115200;
  huart3.Init.WordLength = UART_WORDLENGTH_8B;
  huart3.Init.StopBits = UART_STOPBITS_1;
  huart3.Init.Parity = UART_PARITY_NONE;
  huart3.Init.Mode = UART_MODE_TX_RX;
  huart3.Init.HwFlowCtl = UART_HWCONTROL_NONE;
  huart3.Init.OverSampling = UART_OVERSAMPLING_16;
  if (HAL_UART_Init(&huart3) != HAL_OK)
  {
    Error_Handler();
  }

}

static void MX_DMA_Init(void)
{

  /* DMA controller clock enable */
  __HAL_RCC_DMA1_CLK_ENABLE();

}

static void MX_GPIO_Init(void)
{
  GPIO_InitTypeDef GPIO_InitStruct = {0};

  /* GPIO Ports Clock Enable */
  __HAL_RCC_GPIOC_CLK_ENABLE();
  __HAL_RCC_GPIOA_CLK_ENABLE();
  __HAL_RCC_GPIOB_CLK_ENABLE();
  __HAL_RCC_GPIOE_CLK_ENABLE();
  __HAL_RCC_GPIOD_CLK_ENABLE();

  /*Configure GPIO pin Output Level */
  HAL_GPIO_WritePin(Flash_SS_GPIO_Port, Flash_SS_Pin, GPIO_PIN_SET);

  /*Configure GPIO pin Output Level */
  HAL_GPIO_WritePin(GPIOC, BUZZER_Pin|KEY_COL1_Pin|KEY_COL2_Pin, GPIO_PIN_RESET);

  /*Configure GPIO pin Output Level */
  HAL_GPIO_WritePin(GPIOA, DHT21_Pin|FLASH_CS_Pin, GPIO_PIN_SET);

  /*Configure GPIO pin Output Level */
  HAL_GPIO_WritePin(GPIOA, Heater_Pin|MCU_LCD_LIGHT_Pin, GPIO_PIN_RESET);

  /*Configure GPIO pin Output Level */
  HAL_GPIO_WritePin(GPIOB, LED3_Pin|LED2_Pin|SOLENOID_Pin|SWAP_MOTOR_Pin
                          |CONVEYER_MOTOR_Pin|TOUCH_SCL_Pin|TOUCH_SDA_Pin, GPIO_PIN_RESET);

  /*Configure GPIO pin Output Level */
  HAL_GPIO_WritePin(GPIOE, LED1_Pin|GSM_RESET_Pin|GSM_PWKEY_Pin|EN_PWR_GSM_Pin
                          |RELAY5_Pin|RELAY4_Pin|RELAY3_Pin|RELAY2_Pin
                          |RELAY1_Pin, GPIO_PIN_RESET);

  /*Configure GPIO pin Output Level */
  HAL_GPIO_WritePin(LCD_CS_GPIO_Port, LCD_CS_Pin, GPIO_PIN_SET);

  /*Configure GPIO pin Output Level */
  HAL_GPIO_WritePin(GPIOD, LCD_RESET_Pin|KEY_COL3_Pin, GPIO_PIN_RESET);

  /*Configure GPIO pin Output Level */
  HAL_GPIO_WritePin(TOUCH_RST_GPIO_Port, TOUCH_RST_Pin, GPIO_PIN_SET);

  /*Configure GPIO pin : Flash_SS_Pin */
  GPIO_InitStruct.Pin = Flash_SS_Pin;
  GPIO_InitStruct.Mode = GPIO_MODE_OUTPUT_PP;
  GPIO_InitStruct.Pull = GPIO_NOPULL;
  GPIO_InitStruct.Speed = GPIO_SPEED_FREQ_HIGH;
  HAL_GPIO_Init(Flash_SS_GPIO_Port, &GPIO_InitStruct);

  /*Configure GPIO pins : BUZZER_Pin KEY_COL1_Pin KEY_COL2_Pin */
  GPIO_InitStruct.Pin = BUZZER_Pin|KEY_COL1_Pin|KEY_COL2_Pin;
  GPIO_InitStruct.Mode = GPIO_MODE_OUTPUT_PP;
  GPIO_InitStruct.Pull = GPIO_NOPULL;
  GPIO_InitStruct.Speed = GPIO_SPEED_FREQ_LOW;
  HAL_GPIO_Init(GPIOC, &GPIO_InitStruct);

  /*Configure GPIO pin : DHT21_Pin */
  GPIO_InitStruct.Pin = DHT21_Pin;
  GPIO_InitStruct.Mode = GPIO_MODE_OUTPUT_OD;
  GPIO_InitStruct.Pull = GPIO_PULLUP;
  GPIO_InitStruct.Speed = GPIO_SPEED_FREQ_HIGH;
  HAL_GPIO_Init(DHT21_GPIO_Port, &GPIO_InitStruct);

  /*Configure GPIO pins : Heater_Pin MCU_LCD_LIGHT_Pin */
  GPIO_InitStruct.Pin = Heater_Pin|MCU_LCD_LIGHT_Pin;
  GPIO_InitStruct.Mode = GPIO_MODE_OUTPUT_PP;
  GPIO_InitStruct.Pull = GPIO_NOPULL;
  GPIO_InitStruct.Speed = GPIO_SPEED_FREQ_LOW;
  HAL_GPIO_Init(GPIOA, &GPIO_InitStruct);

  /*Configure GPIO pin : FLASH_CS_Pin */
  GPIO_InitStruct.Pin = FLASH_CS_Pin;
  GPIO_InitStruct.Mode = GPIO_MODE_OUTPUT_PP;
  GPIO_InitStruct.Pull = GPIO_NOPULL;
  GPIO_InitStruct.Speed = GPIO_SPEED_FREQ_HIGH;
  HAL_GPIO_Init(FLASH_CS_GPIO_Port, &GPIO_InitStruct);

  /*Configure GPIO pin : Empty_Pin */
  GPIO_InitStruct.Pin = Empty_Pin;
  GPIO_InitStruct.Mode = GPIO_MODE_INPUT;
  GPIO_InitStruct.Pull = GPIO_NOPULL;
  HAL_GPIO_Init(Empty_GPIO_Port, &GPIO_InitStruct);

  /*Configure GPIO pin : Drop_Pin */
  GPIO_InitStruct.Pin = Drop_Pin;
  GPIO_InitStruct.Mode = GPIO_MODE_IT_RISING;
  GPIO_InitStruct.Pull = GPIO_PULLUP;
  HAL_GPIO_Init(Drop_GPIO_Port, &GPIO_InitStruct);

  /*Configure GPIO pins : DOOR_Pin MCU_IN4_Pin MCU_IN5_Pin */
  GPIO_InitStruct.Pin = DOOR_Pin|MCU_IN4_Pin|MCU_IN5_Pin;
  GPIO_InitStruct.Mode = GPIO_MODE_INPUT;
  GPIO_InitStruct.Pull = GPIO_NOPULL;
  HAL_GPIO_Init(GPIOB, &GPIO_InitStruct);

  /*Configure GPIO pins : LED3_Pin LED2_Pin SOLENOID_Pin SWAP_MOTOR_Pin
                           CONVEYER_MOTOR_Pin */
  GPIO_InitStruct.Pin = LED3_Pin|LED2_Pin|SOLENOID_Pin|SWAP_MOTOR_Pin
                          |CONVEYER_MOTOR_Pin;
  GPIO_InitStruct.Mode = GPIO_MODE_OUTPUT_PP;
  GPIO_InitStruct.Pull = GPIO_NOPULL;
  GPIO_InitStruct.Speed = GPIO_SPEED_FREQ_LOW;
  HAL_GPIO_Init(GPIOB, &GPIO_InitStruct);

  /*Configure GPIO pins : LED1_Pin GSM_RESET_Pin GSM_PWKEY_Pin EN_PWR_GSM_Pin
                           RELAY5_Pin RELAY4_Pin RELAY3_Pin RELAY2_Pin
                           RELAY1_Pin */
  GPIO_InitStruct.Pin = LED1_Pin|GSM_RESET_Pin|GSM_PWKEY_Pin|EN_PWR_GSM_Pin
                          |RELAY5_Pin|RELAY4_Pin|RELAY3_Pin|RELAY2_Pin
                          |RELAY1_Pin;
  GPIO_InitStruct.Mode = GPIO_MODE_OUTPUT_PP;
  GPIO_InitStruct.Pull = GPIO_NOPULL;
  GPIO_InitStruct.Speed = GPIO_SPEED_FREQ_LOW;
  HAL_GPIO_Init(GPIOE, &GPIO_InitStruct);

  /*Configure GPIO pin : LCD_CS_Pin */
  GPIO_InitStruct.Pin = LCD_CS_Pin;
  GPIO_InitStruct.Mode = GPIO_MODE_OUTPUT_PP;
  GPIO_InitStruct.Pull = GPIO_NOPULL;
  GPIO_InitStruct.Speed = GPIO_SPEED_FREQ_HIGH;
  HAL_GPIO_Init(LCD_CS_GPIO_Port, &GPIO_InitStruct);

  /*Configure GPIO pin : LCD_RESET_Pin */
  GPIO_InitStruct.Pin = LCD_RESET_Pin;
  GPIO_InitStruct.Mode = GPIO_MODE_OUTPUT_PP;
  GPIO_InitStruct.Pull = GPIO_NOPULL;
  GPIO_InitStruct.Speed = GPIO_SPEED_FREQ_HIGH;
  HAL_GPIO_Init(LCD_RESET_GPIO_Port, &GPIO_InitStruct);

  /*Configure GPIO pins : LCD_INT_Pin MCU_IN1_Pin MCU_IN2_Pin MCU_IN3_Pin */
  GPIO_InitStruct.Pin = LCD_INT_Pin|MCU_IN1_Pin|MCU_IN2_Pin|MCU_IN3_Pin;
  GPIO_InitStruct.Mode = GPIO_MODE_INPUT;
  GPIO_InitStruct.Pull = GPIO_NOPULL;
  HAL_GPIO_Init(GPIOD, &GPIO_InitStruct);

  /*Configure GPIO pins : KEY_ROW3_Pin KEY_ROW4_Pin KEY_ROW1_Pin KEY_ROW2_Pin
                           KEY_COL4_Pin */
  GPIO_InitStruct.Pin = KEY_ROW3_Pin|KEY_ROW4_Pin|KEY_ROW1_Pin|KEY_ROW2_Pin
                          |KEY_COL4_Pin;
  GPIO_InitStruct.Mode = GPIO_MODE_INPUT;
  GPIO_InitStruct.Pull = GPIO_PULLDOWN;
  HAL_GPIO_Init(GPIOD, &GPIO_InitStruct);

  /*Configure GPIO pin : KEY_COL3_Pin */
  GPIO_InitStruct.Pin = KEY_COL3_Pin;
  GPIO_InitStruct.Mode = GPIO_MODE_OUTPUT_PP;
  GPIO_InitStruct.Pull = GPIO_NOPULL;
  GPIO_InitStruct.Speed = GPIO_SPEED_FREQ_LOW;
  HAL_GPIO_Init(KEY_COL3_GPIO_Port, &GPIO_InitStruct);

  /*Configure GPIO pins : TOUCH_SCL_Pin TOUCH_SDA_Pin */
  GPIO_InitStruct.Pin = TOUCH_SCL_Pin|TOUCH_SDA_Pin;
  GPIO_InitStruct.Mode = GPIO_MODE_OUTPUT_PP;
  GPIO_InitStruct.Pull = GPIO_PULLUP;
  GPIO_InitStruct.Speed = GPIO_SPEED_FREQ_HIGH;
  HAL_GPIO_Init(GPIOB, &GPIO_InitStruct);

  /*Configure GPIO pin : TOUCH_INT_Pin */
  GPIO_InitStruct.Pin = TOUCH_INT_Pin;
  GPIO_InitStruct.Mode = GPIO_MODE_IT_RISING;
  GPIO_InitStruct.Pull = GPIO_PULLDOWN;
  HAL_GPIO_Init(TOUCH_INT_GPIO_Port, &GPIO_InitStruct);

  /*Configure GPIO pin : TOUCH_RST_Pin */
  GPIO_InitStruct.Pin = TOUCH_RST_Pin;
  GPIO_InitStruct.Mode = GPIO_MODE_OUTPUT_PP;
  GPIO_InitStruct.Pull = GPIO_PULLUP;
  GPIO_InitStruct.Speed = GPIO_SPEED_FREQ_HIGH;
  HAL_GPIO_Init(TOUCH_RST_GPIO_Port, &GPIO_InitStruct);

  /* EXTI interrupt init*/
  HAL_NVIC_SetPriority(EXTI0_IRQn, 0, 0);
  HAL_NVIC_EnableIRQ(EXTI0_IRQn);

}

/* USER CODE BEGIN 4 */
unsigned int _adc_sample=0;
void HAL_TIM_PeriodElapsedCallback(TIM_HandleTypeDef *htim)
{
  /* Prevent unused argument(s) compilation warning */
  UNUSED(htim);
	if(htim->Instance == htim3.Instance)			//1ms
	{
//		HAL_GPIO_TogglePin(MCU_LCD_LIGHT_GPIO_Port, MCU_LCD_LIGHT_Pin);
	}
	if(htim->Instance == htim6.Instance)			//1ms
	{
//	HAL_GPIO_WritePin(MCU_LCD_LIGHT_GPIO_Port, MCU_LCD_LIGHT_Pin, GPIO_PIN_SET);
		if(ts_event.touch_hold_count<30)	ts_event.touch_hold_count ++;
		if(ts_event.touch_hold_count==29)	ts_event.touch_event = TOUCH_UP;

		if(time_buzz)
		{
			time_buzz--;
			if(time_buzz==1)
				HAL_GPIO_WritePin(BUZZER_GPIO_Port, BUZZER_Pin, GPIO_PIN_RESET);
		}

		if(count <= 0xFFFFF)
			count ++;
		if(AT_timeout <0xFFFF)
			AT_timeout++;
		if(flag_readDHT12==false)
				scan_switch();
//Led scan
		if(Led1.enable)
		{
			if((Led1.counter %Led1.timeCycle) < Led1.timeOn)	HAL_GPIO_WritePin(LED1_GPIO_Port, LED1_Pin, GPIO_PIN_SET);
			else	HAL_GPIO_WritePin(LED1_GPIO_Port, LED1_Pin, GPIO_PIN_RESET);
			Led1.counter ++;
			if(Led1.counter >= Led1.timeActive)
			{
				Led1.enable =false;
				HAL_GPIO_WritePin(LED1_GPIO_Port, LED1_Pin, GPIO_PIN_RESET);
			}
		}
		if(Led2.enable)
		{
			if((Led2.counter %Led2.timeCycle) < Led2.timeOn)	HAL_GPIO_WritePin(LED2_GPIO_Port, LED2_Pin, GPIO_PIN_SET);
			else	HAL_GPIO_WritePin(LED2_GPIO_Port, LED2_Pin, GPIO_PIN_RESET);
			Led2.counter++;
			if(Led2.counter >= Led2.timeActive)
			{
				Led2.enable =false;
				HAL_GPIO_WritePin(LED2_GPIO_Port, LED2_Pin, GPIO_PIN_RESET);
			}
		}
		if(Led3.enable)
		{
			if((Led3.counter %Led3.timeCycle) < Led3.timeOn)	HAL_GPIO_WritePin(LED3_GPIO_Port, LED3_Pin, GPIO_PIN_SET);
			else	HAL_GPIO_WritePin(LED3_GPIO_Port, LED3_Pin, GPIO_PIN_RESET);
			Led3.counter++;
			if(Led3.counter >= Led3.timeActive)
			{
				Led3.enable =false;
				HAL_GPIO_WritePin(LED3_GPIO_Port, LED3_Pin, GPIO_PIN_RESET);
			}
		}
//		HAL_GPIO_WritePin(MCU_LCD_LIGHT_GPIO_Port, MCU_LCD_LIGHT_Pin, GPIO_PIN_RESET);

		_adc_sample ++;
		if(_adc_sample>50 && flag_readDHT12==false)
		{
			HAL_ADC_Start_IT(&hadc1);
			_adc_sample=0;
		}
	}
}
void HAL_RTCEx_RTCEventCallback(RTC_HandleTypeDef *hrtc)
{
  /* Prevent unused argument(s) compilation warning */
  UNUSED(hrtc);
  /* NOTE : This function Should not be modified, when the callback is needed,
            the HAL_RTCEx_RTCEventCallback could be implemented in the user file
   */
	if(hrtc->Instance ==RTC)
	{
		isSecond =1;
		isSecond_display ++;
		timeInterval++;
	}

}

void HAL_ADC_ConvCpltCallback(ADC_HandleTypeDef* hadc)
{
  /* Prevent unused argument(s) compilation warning */
  UNUSED(hadc);
  /* NOTE : This function should not be modified. When the callback is needed,
            function HAL_ADC_ConvCpltCallback must be implemented in the user file.
   */

	if(hadc->Instance == ADC1)
	{
		ADC_MOTOR = HAL_ADC_GetValue(&hadc1);
		ADC_MOTOR_SWAP = HAL_ADC_GetValue(&hadc1);

		ADC_M_AVG +=(float)(ADC_MOTOR -ADC_M_OLD)/10.0;
		ADC_M_OLD = ADC_M_AVG;

		ADC_SWAP_AVG +=(float)(ADC_MOTOR_SWAP - ADC_SWAP_OLD)/10.0;
		ADC_SWAP_OLD = ADC_SWAP_AVG;
		I_MOTOR = (ADC_M_AVG*3300)/2048;
		I_SWAP_M = (ADC_SWAP_AVG*3300)/2048;

		HAL_ADC_Stop_IT(&hadc1);
	}
}

/* USER CODE END 4 */

void Error_Handler(void)
{
  /* USER CODE BEGIN Error_Handler_Debug */
  /* User can add his own implementation to report the HAL error return state */
  printf("error\r\n");
	__disable_irq();
  while (1)
  {
  }
  /* USER CODE END Error_Handler_Debug */
}
